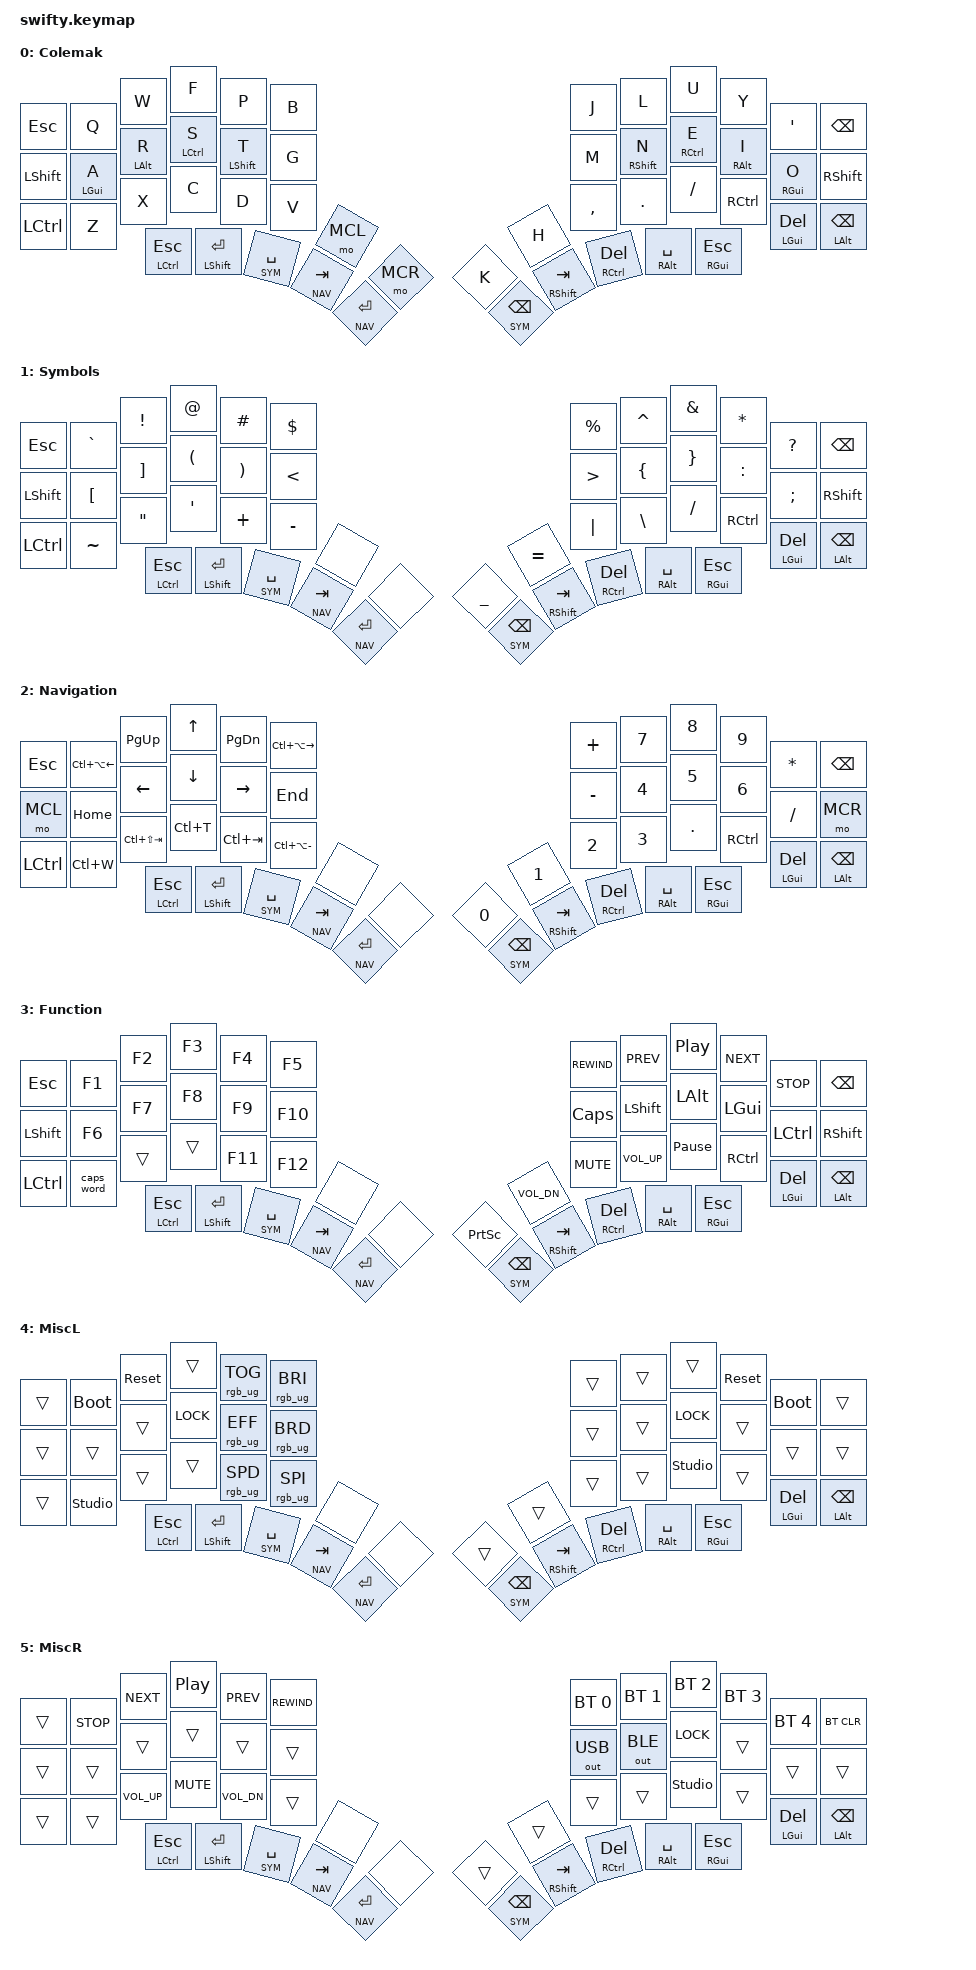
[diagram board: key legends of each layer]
#include <behaviors.dtsi>
#include <dt-bindings/zmk/keys.h>
#include <dt-bindings/zmk/bt.h>
#include <dt-bindings/zmk/outputs.h>
#include <dt-bindings/zmk/rgb.h>
// #include <dt-bindings/zmk/rgb_colors.h>  // perkey-underglow fork only — restore after cherry-pick
#include <dt-bindings/zmk/hid_indicators.h>

// Layer aliases
#define CMK  0
#define SYM  1
#define NAV  2
#define FUN  3
#define MCL  4
#define MCR  5

#include "combos.dtsi"

// Desktop keycodes
#define D_LT   LC(LA(LEFT))
#define D_RT   LC(LA(RIGHT))

// Browser keycodes
#define TAB_NW LC(T)
#define TAB_RT LC(TAB)
#define TAB_LT LC(LS(TAB))
#define TAB_CL LC(W)

// VS Code keycodes
#define CDE_BK LC(LA(MINUS))
#define CDE_FD LC(LS(MINUS))

&caps_word {
    continue-list = <UNDERSCORE MINUS BSPC DEL N1 N2 N3 N4 N5 N6 N7 N8 N9 N0>;
};


/ {
    behaviors {
          ltr: layer_toggle_right {
               compatible = "zmk,behavior-hold-tap";
               display-name = "LT Right";
               #binding-cells = <2>;
               flavor = "hold-preferred";
               tapping-term-ms = <200>;
               bindings = <&mo>, <&kp>;
          };
          ltl: layer_toggle_left {
               compatible = "zmk,behavior-hold-tap";
               display-name = "LT Left";
               #binding-cells = <2>;
               flavor = "hold-preferred";
               tapping-term-ms = <200>;
               bindings = <&mo>, <&kp>;
          };
          hml: homerow_mod_left {
               compatible = "zmk,behavior-hold-tap";
               display-name = "HRM Left";
               #binding-cells = <2>;
               flavor = "balanced";
               tapping-term-ms = <280>;
               quick-tap-ms = <175>;
               require-prior-idle-ms = <150>;
               bindings = <&kp>, <&kp>;
               hold-trigger-key-positions = <6 7 8 9 10 11 18 19 20 21 22 23 32 33 34 35 36 37 38 39 40 41 42 43 44 45 46 47 48 49>;
               hold-trigger-on-release;
          };
          hmr: homerow_mod_right {
               compatible = "zmk,behavior-hold-tap";
               display-name = "HRM Right";
               #binding-cells = <2>;
               flavor = "balanced";
               tapping-term-ms = <280>;
               quick-tap-ms = <175>;
               require-prior-idle-ms = <150>;
               bindings = <&kp>, <&kp>;
               hold-trigger-key-positions = <0 1 2 3 4 5 12 13 14 15 16 17 24 25 26 27 28 29 38 39 40 41 42 43 44 45 46 47 48 49>;
               hold-trigger-on-release;
          };
    };

    cond_layers {
        compatible = "zmk,conditional-layers";
        // Define FUN layer as tri-state
        navsym {
            if-layers = <NAV SYM>;
            then-layer = <FUN>;
        };
    };

    keymap {
       compatible = "zmk,keymap";
       Colemak_layer {
          display-name = "Colemak";
          bindings = <

// ╭─────────────┬─────────────┬─────────────┬─────────────┬─────────────┬─────────────╮                               ╭─────────────┬─────────────┬─────────────┬─────────────┬─────────────┬─────────────╮
     &kp ESC       &kp Q         &kp W         &kp F         &kp P         &kp B                                         &kp J         &kp L         &kp U         &kp Y         &kp SQT       &kp BSPC
// ├─────────────┼─────────────┼─────────────┼─────────────┼─────────────┼─────────────┤                               ├─────────────┼─────────────┼─────────────┼─────────────┼─────────────┼─────────────┤
     &kp LSHFT     &hml LGUI A   &hml LALT R   &hml LCTRL S  &hml LSHFT T  &kp G                                         &kp M         &hmr RSHFT N  &hmr RCTRL E  &hmr RALT I   &hmr RGUI O   &kp RSHFT
// ├─────────────┼─────────────┼─────────────┼─────────────┼─────────────┼─────────────┤─────────────╮   ╭─────────────├─────────────┼─────────────┼─────────────┼─────────────┼─────────────┼─────────────┤
     &kp LCTRL     &kp Z         &kp X         &kp C         &kp D         &kp V         &mo MCL           &mo MCR       &kp K         &kp H         &kp COMMA     &kp DOT       &kp SLASH     &kp RCTRL
// ╰─────────────┼─────────────┼─────────────┼─────────────┼─────────────┼─────────────┼─────────────┤   ┼─────────────├─────────────┼─────────────┼─────────────┼─────────────┴─────────────┴─────────────╯
                   &mt LGUI DEL   &mt LALT BSPC  &mt LCTRL ESC  &mt LSHFT RET  &ltl SYM SPACE &ltl NAV TAB   &ltr NAV RET   &ltr SYM BSPC  &mt RSHFT TAB  &mt RCTRL DEL  &mt RALT SPACE &mt RGUI ESC
//               ╰─────────────┴─────────────┴─────────────┴─────────────┴─────────────┴─────────────╯   ╰─────────────┴─────────────┴─────────────┴─────────────┴─────────────┴─────────────╯
        >;

     };
     Symbols_layer {
          display-name = "Symbols";
          bindings = <
// ╭─────────────┬─────────────┬─────────────┬─────────────┬─────────────┬─────────────╮                               ╭─────────────┬─────────────┬─────────────┬─────────────┬─────────────┬─────────────╮
     &kp ESC       &kp GRAVE     &kp EXCL      &kp AT        &kp HASH      &kp DLLR                                      &kp PRCNT     &kp CARET     &kp AMPS      &kp ASTRK     &kp QMARK     &kp BSPC
// ├─────────────┼─────────────┼─────────────┼─────────────┼─────────────┼─────────────┤                               ├─────────────┼─────────────┼─────────────┼─────────────┼─────────────┼─────────────┤
     &kp LSHFT     &kp LBKT      &kp RBKT      &kp LPAR      &kp RPAR      &kp LT                                        &kp GT        &kp LBRC      &kp RBRC      &kp COLON     &kp SEMI      &kp RSHFT
// ├─────────────┼─────────────┼─────────────┼─────────────┼─────────────┼─────────────┤─────────────╮   ╭─────────────├─────────────┼─────────────┼─────────────┼─────────────┼─────────────┼─────────────┤
     &kp LCTRL     &kp TILDE     &kp DQT       &kp SQT       &kp PLUS      &kp MINUS     &none             &none         &kp UNDER     &kp EQUAL     &kp PIPE      &kp BSLH      &kp SLASH     &kp RCTRL
// ╰─────────────┼─────────────┼─────────────┼─────────────┼─────────────┼─────────────┼─────────────┤   ┼─────────────├─────────────┼─────────────┼─────────────┼─────────────┴─────────────┴─────────────╯
                   &mt LGUI DEL   &mt LALT BSPC  &mt LCTRL ESC  &mt LSHFT RET  &ltl SYM SPACE &ltl NAV TAB   &ltr NAV RET   &ltr SYM BSPC  &mt RSHFT TAB  &mt RCTRL DEL  &mt RALT SPACE &mt RGUI ESC
//               ╰─────────────┴─────────────┴─────────────┴─────────────┴─────────────┴─────────────╯   ╰─────────────┴─────────────┴─────────────┴─────────────┴─────────────┴─────────────╯
        >;

     };
     Navigation_layer {
          display-name = "Navigation";
          bindings = <
// ╭─────────────┬─────────────┬─────────────┬─────────────┬─────────────┬─────────────╮                               ╭─────────────┬─────────────┬─────────────┬─────────────┬─────────────┬─────────────╮
     &kp ESC       &kp D_LT      &kp PG_UP     &kp UP        &kp PG_DN     &kp D_RT                                      &kp PLUS      &kp N7        &kp N8        &kp N9        &kp STAR      &kp BSPC
// ├─────────────┼─────────────┼─────────────┼─────────────┼─────────────┼─────────────┤                               ├─────────────┼─────────────┼─────────────┼─────────────┼─────────────┼─────────────┤
     &mo MCL       &kp HOME      &kp LEFT      &kp DOWN      &kp RIGHT     &kp END                                       &kp MINUS     &kp N4        &kp N5        &kp N6        &kp SLASH     &mo MCR
// ├─────────────┼─────────────┼─────────────┼─────────────┼─────────────┼─────────────┤─────────────╮   ╭─────────────├─────────────┼─────────────┼─────────────┼─────────────┼─────────────┼─────────────┤
     &kp LCTRL     &kp TAB_CL    &kp TAB_LT    &kp TAB_NW    &kp TAB_RT    &kp CDE_BK    &none              &none        &kp N0        &kp N1        &kp N2        &kp N3        &kp DOT       &kp RCTRL
// ╰─────────────┼─────────────┼─────────────┼─────────────┼─────────────┼─────────────┼─────────────┤   ┼─────────────├─────────────┼─────────────┼─────────────┼─────────────┴─────────────┴─────────────╯
                   &mt LGUI DEL   &mt LALT BSPC  &mt LCTRL ESC  &mt LSHFT RET  &ltl SYM SPACE &ltl NAV TAB   &ltr NAV RET   &ltr SYM BSPC  &mt RSHFT TAB  &mt RCTRL DEL  &mt RALT SPACE &mt RGUI ESC
//               ╰─────────────┴─────────────┴─────────────┴─────────────┴─────────────┴─────────────╯   ╰─────────────┴─────────────┴─────────────┴─────────────┴─────────────┴─────────────╯
        >;


     };
     Function_layer {
          display-name = "Function";
          bindings = <
// ╭─────────────┬─────────────┬─────────────┬─────────────┬─────────────┬─────────────╮                               ╭─────────────┬─────────────┬─────────────┬─────────────┬─────────────┬─────────────╮
     &kp ESC       &kp F1        &kp F2        &kp F3        &kp F4        &kp F5                                        &kp C_REWIND  &kp C_PREV    &kp C_PP      &kp C_NEXT    &kp C_STOP    &kp BSPC
// ├─────────────┼─────────────┼─────────────┼─────────────┼─────────────┼─────────────┤                               ├─────────────┼─────────────┼─────────────┼─────────────┼─────────────┼─────────────┤
     &kp LSHFT     &kp F6        &kp F7        &kp F8        &kp F9        &kp F10                                       &kp CAPS      &kp LSHIFT    &kp LALT      &kp LGUI      &kp LCTRL     &kp RSHFT
// ├─────────────┼─────────────┼─────────────┼─────────────┼─────────────┼─────────────┤─────────────╮   ╭─────────────├─────────────┼─────────────┼─────────────┼─────────────┼─────────────┼─────────────┤
     &kp LCTRL     &caps_word    &trans        &trans        &kp F11       &kp F12       &none             &none         &kp PSCRN     &kp C_VOL_DN  &kp C_MUTE    &kp C_VOL_UP   &kp PAUSE_BREAK &kp RCTRL
// ╰─────────────┼─────────────┼─────────────┼─────────────┼─────────────┼─────────────┼─────────────┤   ┼─────────────├─────────────┼─────────────┼─────────────┼─────────────┴─────────────┴─────────────╯
                   &mt LGUI DEL   &mt LALT BSPC  &mt LCTRL ESC  &mt LSHFT RET  &ltl SYM SPACE &ltl NAV TAB   &ltr NAV RET   &ltr SYM BSPC  &mt RSHFT TAB  &mt RCTRL DEL  &mt RALT SPACE &mt RGUI ESC
//               ╰─────────────┴─────────────┴─────────────┴─────────────┴─────────────┴─────────────╯   ╰─────────────┴─────────────┴─────────────┴─────────────┴─────────────┴─────────────╯
        >;

     };
     MiscL_layer {
          display-name = "MiscL";
          bindings = <
// ╭─────────────┬─────────────┬─────────────┬─────────────┬─────────────┬─────────────╮                               ╭─────────────┬─────────────┬─────────────┬─────────────┬─────────────┬─────────────╮
     &trans        &bootloader   &sys_reset    &trans        &rgb_ug RGB_TOG &rgb_ug RGB_BRI                             &trans        &trans        &trans        &sys_reset    &bootloader   &trans
// ├─────────────┼─────────────┼─────────────┼─────────────┼─────────────┼─────────────┤                               ├─────────────┼─────────────┼─────────────┼─────────────┼─────────────┼─────────────┤
     &trans        &trans        &trans        &kp K_LOCK    &rgb_ug RGB_EFF &rgb_ug RGB_BRD                             &trans        &trans        &kp K_LOCK    &trans        &trans        &trans
// ├─────────────┼─────────────┼─────────────┼─────────────┼─────────────┼─────────────┤─────────────╮   ╭─────────────├─────────────┼─────────────┼─────────────┼─────────────┼─────────────┼─────────────┤
     &trans        &studio_unlock &trans       &trans        &rgb_ug RGB_SPD &rgb_ug RGB_SPI        &none             &none          &trans       &trans        &trans        &trans        &studio_unlock &trans
// ╰─────────────┼─────────────┼─────────────┼─────────────┼─────────────┼─────────────┼─────────────┤   ┼─────────────├─────────────┼─────────────┼─────────────┼─────────────┴─────────────┴─────────────╯
                   &mt LGUI DEL   &mt LALT BSPC  &mt LCTRL ESC  &mt LSHFT RET  &ltl SYM SPACE &ltl NAV TAB   &ltr NAV RET   &ltr SYM BSPC  &mt RSHFT TAB  &mt RCTRL DEL  &mt RALT SPACE &mt RGUI ESC
//               ╰─────────────┴─────────────┴─────────────┴─────────────┴─────────────┴─────────────╯   ╰─────────────┴─────────────┴─────────────┴─────────────┴─────────────┴─────────────╯
        >;

     };
     MiscR_layer {
          display-name = "MiscR";
          bindings = <
// ╭─────────────┬─────────────┬─────────────┬─────────────┬─────────────┬─────────────╮                               ╭─────────────┬─────────────┬─────────────┬─────────────┬─────────────┬─────────────╮
     &trans        &kp C_STOP    &kp C_NEXT    &kp C_PP      &kp C_PREV    &kp C_REWIND                                  &bt BT_SEL 0  &bt BT_SEL 1  &bt BT_SEL 2  &bt BT_SEL 3  &bt BT_SEL 4  &bt BT_CLR
// ├─────────────┼─────────────┼─────────────┼─────────────┼─────────────┼─────────────┤                               ├─────────────┼─────────────┼─────────────┼─────────────┼─────────────┼─────────────┤
     &trans        &trans        &trans        &trans        &trans        &trans                                  &out OUT_USB  &out OUT_BLE  &kp K_LOCK    &trans        &trans        &trans
// ├─────────────┼─────────────┼─────────────┼─────────────┼─────────────┼─────────────┤─────────────╮   ╭─────────────├─────────────┼─────────────┼─────────────┼─────────────┼─────────────┼─────────────┤
     &trans        &trans        &kp C_VOL_UP  &kp C_MUTE    &kp C_VOL_DN  &trans    &none             &none         &trans        &trans        &trans        &trans        &studio_unlock &trans
// ╰─────────────┼─────────────┼─────────────┼─────────────┼─────────────┼─────────────┼─────────────┤   ┼─────────────├─────────────┼─────────────┼──────────────┼─────────────┴─────────────┴─────────────╯
                   &mt LGUI DEL   &mt LALT BSPC  &mt LCTRL ESC  &mt LSHFT RET  &ltl SYM SPACE &ltl NAV TAB   &ltr NAV RET   &ltr SYM BSPC  &mt RSHFT TAB  &mt RCTRL DEL  &mt RALT SPACE &mt RGUI ESC
//               ╰─────────────┴─────────────┴─────────────┴─────────────┴─────────────┴─────────────╯   ╰─────────────┴─────────────┴─────────────┴──────────────┴─────────────┴─────────────╯
        >;
    };
  };

    /* perkey-underglow fork only — restore after cherry-pick
    underglow-layer {
        compatible  = "zmk,underglow-layer";

        lower {
            bindings = <
    &ug ___    &ug WHITE  &ug WHITE  &ug WHITE  &ug WHITE  &ug WHITE                          &ug WHITE  &ug WHITE  &ug WHITE  &ug WHITE  &ug WHITE  &ug ___
    &ug ___    &ug WHITE  &ug WHITE  &ug WHITE  &ug WHITE  &ug WHITE                          &ug WHITE  &ug WHITE  &ug WHITE  &ug WHITE  &ug WHITE  &ug ___
    &ug ___    &ug WHITE  &ug WHITE  &ug WHITE  &ug WHITE  &ug WHITE  &ug ___      &ug ___    &ug WHITE  &ug WHITE  &ug WHITE  &ug WHITE  &ug WHITE  &ug ___
               &ug ___    &ug ___    &ug PINK   &ug TEAL   &ug BLUE   &ug ___      &ug ___    &ug ORANGE  &ug GREEN &ug PURPLE &ug ___    &ug ___
                >;
            layer-id = <CMK>;
        };
        sym {
            bindings = <
    &ug ___    &ug TEAL   &ug TEAL   &ug TEAL   &ug TEAL   &ug TEAL                           &ug TEAL   &ug TEAL   &ug TEAL   &ug TEAL   &ug TEAL   &ug ___
    &ug ___    &ug GOLD   &ug GOLD   &ug ORANGE &ug ORANGE &ug YELLOW                         &ug YELLOW &ug PURPLE &ug PURPLE &ug PINK   &ug PINK   &ug ___
    &ug ___    &ug PINK   &ug TEAL   &ug BLUE   &ug GREEN  &ug RED    &ug ___      &ug ___    &ug RED    &ug WHITE  &ug GOLD   &ug ORANGE &ug YELLOW &ug ___
               &ug ___    &ug ___    &ug PINK   &ug TEAL   &ug BLUE   &ug ___      &ug ___    &ug WHITE  &ug GREEN  &ug PURPLE &ug ___    &ug ___
                >;
            layer-id = <SYM>;
        };
        nav {
            bindings = <
    &ug ___    &ug ORANGE &ug YELLOW &ug BLUE   &ug YELLOW &ug ORANGE                         &ug GREEN  &ug TEAL   &ug TEAL   &ug TEAL   &ug BLUE   &ug ___
    &ug ___    &ug TEAL   &ug BLUE   &ug BLUE   &ug BLUE   &ug TEAL                           &ug RED    &ug TEAL   &ug TEAL   &ug TEAL   &ug ORANGE &ug ___
    &ug ___    &ug RED    &ug GOLD   &ug GREEN  &ug GOLD   &ug ___    &ug ___      &ug ___    &ug TEAL   &ug TEAL   &ug TEAL   &ug TEAL   &ug PURPLE &ug ___
               &ug ___    &ug ___    &ug PINK   &ug TEAL   &ug WHITE  &ug ___      &ug ___    &ug ORANGE &ug GREEN  &ug PURPLE &ug ___    &ug ___
                >;
            layer-id = <NAV>;
        };
        fn {
            bindings = <
    &ug ___    &ug TEAL   &ug TEAL   &ug TEAL   &ug TEAL   &ug TEAL                           &ug BLUE   &ug BLUE   &ug BLUE   &ug BLUE   &ug BLUE   &ug ___
    &ug ___    &ug TEAL   &ug TEAL   &ug TEAL   &ug TEAL   &ug TEAL                           &ug ___    &ug ___    &ug ___    &ug ___    &ug ___    &ug ___
    &ug ___    &ug RED    &ug ___    &ug ___    &ug TEAL   &ug TEAL   &ug ___      &ug ___    &ug YELLOW &ug TEAL   &ug ___    &ug ___    &ug ___    &ug ___
               &ug ___    &ug ___    &ug PINK   &ug TEAL   &ug BLUE   &ug ___      &ug ___    &ug ORANGE &ug GREEN  &ug PURPLE &ug ___    &ug ___
                >;
            layer-id = <FUN>;
        };
        ml {
            bindings = <
    &ug ___    &ug RED    &ug ORANGE &ug ___    &ug ___    &ug ___                            &ug ___    &ug ___    &ug ___    &ug ORANGE &ug RED    &ug ___
    &ug ___    &ug ___    &ug ___    &ug PURPLE &ug ___    &ug WHITE                          &ug ___    &ug ___    &ug PURPLE &ug ___    &ug ___    &ug ___
    &ug ___    &ug BLUE   &ug ___    &ug ___    &ug ___    &ug ___    &ug PINK     &ug ___    &ug ___    &ug ___    &ug ___    &ug ___    &ug BLUE   &ug ___
               &ug GOLD   &ug GREEN  &ug PURPLE &ug GREEN  &ug ORANGE &ug ___      &ug ___    &ug BLUE   &ug TEAL   &ug PINK   &ug ___    &ug ___
                >;
            layer-id = <MCL>;
        };
        mr {
            bindings = <
    &ug ___    &ug RED    &ug ORANGE &ug ___    &ug ___    &ug ___                            &ug ___    &ug ___    &ug ___    &ug ORANGE &ug RED    &ug ___
    &ug ___    &ug ___    &ug ___    &ug PURPLE &ug ___    &ug WHITE                          &ug WHITE  &ug ___    &ug PURPLE &ug ___    &ug ___    &ug ___
    &ug ___    &ug BLUE   &ug ___    &ug ___    &ug ___    &ug ___    &ug PINK     &ug ___    &ug ___    &ug ___    &ug ___    &ug ___    &ug BLUE   &ug ___
               &ug GOLD   &ug GREEN  &ug PURPLE &ug GREEN  &ug ORANGE &ug ___      &ug ___    &ug BLUE   &ug TEAL   &ug PINK   &ug ___    &ug ___
                >;
            layer-id = <MCR>;
        };
    };
    */
};
